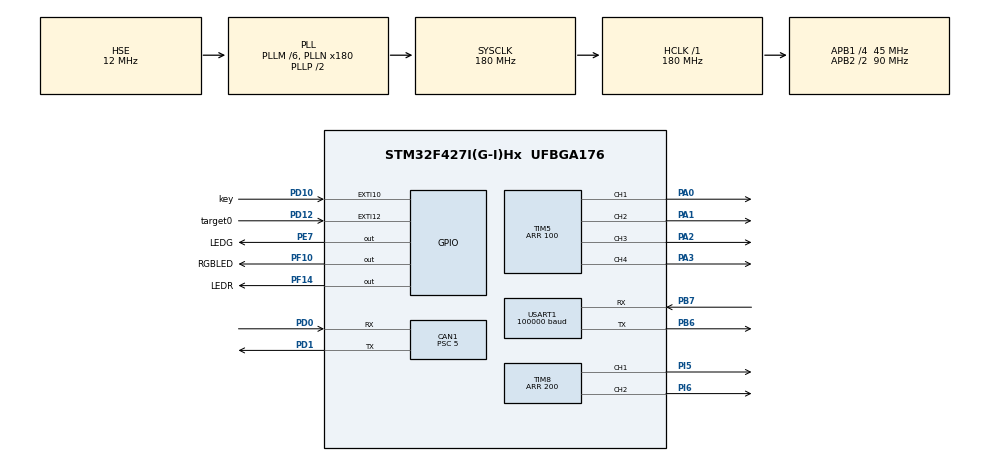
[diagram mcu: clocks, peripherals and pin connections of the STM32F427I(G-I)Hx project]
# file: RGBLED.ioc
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CAN1.BS1=CAN_BS1_3TQ
CAN1.BS2=CAN_BS2_5TQ
CAN1.CalculateTimeQuantum=111.11111111111111
CAN1.Prescaler=5
CAN1.TTCM=ENABLE
CAN1.TXFP=ENABLE
Dma.Request0=TIM5_CH1
Dma.Request1=TIM5_CH2
Dma.Request2=TIM5_CH3/UP
Dma.Request3=TIM5_CH4/TRIG
Dma.Request4=TIM8_CH1
Dma.Request5=USART1_RX
Dma.Request6=TIM8_CH2
Dma.TIM5_CH1.0.Direction=DMA_MEMORY_TO_PERIPH
Dma.TIM5_CH1.0.FIFOMode=DMA_FIFOMODE_DISABLE
Dma.TIM5_CH1.0.Instance=DMA1_Stream2
Dma.TIM5_CH1.0.MemDataAlignment=DMA_MDATAALIGN_WORD
Dma.TIM5_CH1.0.MemInc=DMA_MINC_ENABLE
Dma.TIM5_CH1.0.Mode=DMA_NORMAL
Dma.TIM5_CH1.0.PeriphDataAlignment=DMA_PDATAALIGN_WORD
Dma.TIM5_CH1.0.PeriphInc=DMA_PINC_DISABLE
Dma.TIM5_CH1.0.Priority=DMA_PRIORITY_VERY_HIGH
Dma.TIM5_CH2.1.Direction=DMA_MEMORY_TO_PERIPH
Dma.TIM5_CH2.1.FIFOMode=DMA_FIFOMODE_DISABLE
Dma.TIM5_CH2.1.Instance=DMA1_Stream4
Dma.TIM5_CH2.1.MemDataAlignment=DMA_MDATAALIGN_WORD
Dma.TIM5_CH2.1.MemInc=DMA_MINC_ENABLE
Dma.TIM5_CH2.1.Mode=DMA_NORMAL
Dma.TIM5_CH2.1.PeriphDataAlignment=DMA_PDATAALIGN_WORD
Dma.TIM5_CH2.1.PeriphInc=DMA_PINC_DISABLE
Dma.TIM5_CH2.1.Priority=DMA_PRIORITY_VERY_HIGH
Dma.TIM5_CH3/UP.2.Direction=DMA_MEMORY_TO_PERIPH
Dma.TIM5_CH3/UP.2.FIFOMode=DMA_FIFOMODE_DISABLE
Dma.TIM5_CH3/UP.2.Instance=DMA1_Stream0
Dma.TIM5_CH3/UP.2.MemDataAlignment=DMA_MDATAALIGN_WORD
Dma.TIM5_CH3/UP.2.MemInc=DMA_MINC_ENABLE
Dma.TIM5_CH3/UP.2.Mode=DMA_NORMAL
Dma.TIM5_CH3/UP.2.PeriphDataAlignment=DMA_PDATAALIGN_WORD
Dma.TIM5_CH3/UP.2.PeriphInc=DMA_PINC_DISABLE
Dma.TIM5_CH3/UP.2.Priority=DMA_PRIORITY_VERY_HIGH
Dma.TIM5_CH4/TRIG.3.Direction=DMA_MEMORY_TO_PERIPH
Dma.TIM5_CH4/TRIG.3.FIFOMode=DMA_FIFOMODE_DISABLE
Dma.TIM5_CH4/TRIG.3.Instance=DMA1_Stream1
Dma.TIM5_CH4/TRIG.3.MemDataAlignment=DMA_MDATAALIGN_WORD
Dma.TIM5_CH4/TRIG.3.MemInc=DMA_MINC_ENABLE
Dma.TIM5_CH4/TRIG.3.Mode=DMA_NORMAL
Dma.TIM5_CH4/TRIG.3.PeriphDataAlignment=DMA_PDATAALIGN_WORD
Dma.TIM5_CH4/TRIG.3.PeriphInc=DMA_PINC_DISABLE
Dma.TIM5_CH4/TRIG.3.Priority=DMA_PRIORITY_VERY_HIGH
Dma.TIM8_CH1.4.Direction=DMA_MEMORY_TO_PERIPH
Dma.TIM8_CH1.4.FIFOMode=DMA_FIFOMODE_DISABLE
Dma.TIM8_CH1.4.Instance=DMA2_Stream2
Dma.TIM8_CH1.4.MemDataAlignment=DMA_MDATAALIGN_HALFWORD
Dma.TIM8_CH1.4.MemInc=DMA_MINC_ENABLE
Dma.TIM8_CH1.4.Mode=DMA_NORMAL
Dma.TIM8_CH1.4.PeriphDataAlignment=DMA_PDATAALIGN_HALFWORD
Dma.TIM8_CH1.4.PeriphInc=DMA_PINC_DISABLE
Dma.TIM8_CH1.4.Priority=DMA_PRIORITY_VERY_HIGH
Dma.TIM8_CH2.6.Direction=DMA_MEMORY_TO_PERIPH
Dma.TIM8_CH2.6.FIFOMode=DMA_FIFOMODE_DISABLE
Dma.TIM8_CH2.6.Instance=DMA2_Stream3
Dma.TIM8_CH2.6.MemDataAlignment=DMA_MDATAALIGN_HALFWORD
Dma.TIM8_CH2.6.MemInc=DMA_MINC_ENABLE
Dma.TIM8_CH2.6.Mode=DMA_NORMAL
Dma.TIM8_CH2.6.PeriphDataAlignment=DMA_PDATAALIGN_HALFWORD
Dma.TIM8_CH2.6.PeriphInc=DMA_PINC_DISABLE
Dma.TIM8_CH2.6.Priority=DMA_PRIORITY_VERY_HIGH
Dma.USART1_RX.5.Direction=DMA_PERIPH_TO_MEMORY
Dma.USART1_RX.5.FIFOMode=DMA_FIFOMODE_DISABLE
Dma.USART1_RX.5.Instance=DMA2_Stream5
Dma.USART1_RX.5.MemDataAlignment=DMA_MDATAALIGN_BYTE
Dma.USART1_RX.5.MemInc=DMA_MINC_ENABLE
Dma.USART1_RX.5.Mode=DMA_CIRCULAR
Dma.USART1_RX.5.PeriphDataAlignment=DMA_PDATAALIGN_BYTE
Dma.USART1_RX.5.PeriphInc=DMA_PINC_DISABLE
Dma.USART1_RX.5.Priority=DMA_PRIORITY_VERY_HIGH
FREERTOS.INCLUDE_vTaskDelayUntil=1
FREERTOS.Tasks01=defaultTask,0,128,StartDefaultTask,Default,NULL,Dynamic,NULL,NULL;LeafDisplay,-3,512,StartLeafDisplay,Default,NULL,Dynamic,NULL,NULL;BoradLED_Task,-3,128,Start_BoradLED_Task,Default,NULL,Dynamic,NULL,NULL;MotorTask,-3,128,StartMotorTask,Default,NULL,Dynamic,NULL,NULL
Mcu.Family=STM32F4
Mcu.Name=STM32F427I(G-I)Hx
Mcu.Package=UFBGA176
NVIC.CAN1_RX0_IRQn=true\:3\:0\:true\:false\:true\:false\:true\:true
NVIC.CAN1_TX_IRQn=true\:5\:0\:false\:false\:true\:true\:true\:true
NVIC.DMA1_Stream0_IRQn=true\:5\:0\:false\:false\:true\:true\:false\:true
NVIC.DMA1_Stream1_IRQn=true\:5\:0\:false\:false\:true\:true\:false\:true
NVIC.DMA1_Stream2_IRQn=true\:5\:0\:false\:false\:true\:true\:false\:true
NVIC.DMA1_Stream4_IRQn=true\:5\:0\:false\:false\:true\:true\:false\:true
NVIC.DMA2_Stream2_IRQn=true\:5\:0\:false\:false\:true\:true\:false\:true
NVIC.DMA2_Stream3_IRQn=true\:5\:0\:false\:false\:true\:true\:false\:true
NVIC.DMA2_Stream5_IRQn=true\:5\:0\:false\:false\:true\:true\:false\:true
NVIC.EXTI15_10_IRQn=true\:5\:0\:false\:false\:true\:true\:true\:true
NVIC.PriorityGroup=NVIC_PRIORITYGROUP_4
NVIC.TIM1_UP_TIM10_IRQn=true\:0\:0\:false\:false\:true\:false\:false\:true
NVIC.TimeBase=TIM1_UP_TIM10_IRQn
NVIC.TimeBaseIP=TIM1
PA0/WKUP.GPIO_Speed=GPIO_SPEED_FREQ_VERY_HIGH
PA0/WKUP.Signal=S_TIM5_CH1
PA1.GPIO_Speed=GPIO_SPEED_FREQ_VERY_HIGH
PA1.Signal=S_TIM5_CH2
PA13.Mode=Serial_Wire
PA13.Signal=SYS_JTMS-SWDIO
PA14.Mode=Serial_Wire
PA14.Signal=SYS_JTCK-SWCLK
PA2.GPIO_Speed=GPIO_SPEED_FREQ_VERY_HIGH
PA2.Signal=S_TIM5_CH3
PA3.GPIO_Speed=GPIO_SPEED_FREQ_VERY_HIGH
PA3.Signal=S_TIM5_CH4
PB6.Mode=Multiprocessor_communication
PB6.Signal=USART1_TX
PB7.Mode=Multiprocessor_communication
PB7.Signal=USART1_RX
PD0.Mode=Master
PD0.Signal=CAN1_RX
PD1.Mode=Master
PD1.Signal=CAN1_TX
PD10.GPIO_Label=key
PD10.Signal=GPXTI10
PD12.GPIO_Label=target0
PD12.GPIO_ModeDefaultEXTI=GPIO_MODE_EVT_FALLING
PD12.GPIO_PuPd=GPIO_PULLUP
PD12.Signal=GPXTI12
PE7.GPIO_Label=LEDG
PE7.GPIO_PuPd=GPIO_PULLUP
PE7.Signal=GPIO_Output
PF10.GPIO_Label=RGBLED
PF10.GPIO_Speed=GPIO_SPEED_FREQ_VERY_HIGH
PF10.Signal=GPIO_Output
PF14.GPIO_Label=LEDR
PF14.GPIO_PuPd=GPIO_PULLUP
PF14.Signal=GPIO_Output
PH0/OSC_IN.Mode=HSE-External-Oscillator
PH0/OSC_IN.Signal=RCC_OSC_IN
PH1/OSC_OUT.Mode=HSE-External-Oscillator
PH1/OSC_OUT.Signal=RCC_OSC_OUT
PI5.Signal=S_TIM8_CH1
PI6.Signal=S_TIM8_CH2
ProjectManager.HeapSize=0x200
ProjectManager.StackSize=0x400
ProjectManager.TargetToolchain=MDK-ARM V5
RCC.48MHZClocksFreq_Value=90000000
RCC.AHBFreq_Value=180000000
RCC.APB1CLKDivider=RCC_HCLK_DIV4
RCC.APB1Freq_Value=45000000
RCC.APB1TimFreq_Value=90000000
RCC.APB2CLKDivider=RCC_HCLK_DIV2
RCC.APB2Freq_Value=90000000
RCC.APB2TimFreq_Value=180000000
RCC.CortexFreq_Value=180000000
RCC.HCLKFreq_Value=180000000
RCC.HSE_VALUE=12000000
RCC.HSI_VALUE=16000000
RCC.LSE_VALUE=32768
RCC.PLLM=6
RCC.PLLN=180
RCC.PLLSourceVirtual=RCC_PLLSOURCE_HSE
RCC.SYSCLKFreq_VALUE=180000000
RCC.SYSCLKSource=RCC_SYSCLKSOURCE_PLLCLK
RCC.VCOOutputFreq_Value=360000000
SH.S_TIM5_CH1.0=TIM5_CH1,PWM Generation1 CH1
SH.S_TIM5_CH2.0=TIM5_CH2,PWM Generation2 CH2
SH.S_TIM5_CH3.0=TIM5_CH3,PWM Generation3 CH3
SH.S_TIM5_CH4.0=TIM5_CH4,PWM Generation4 CH4
SH.S_TIM8_CH1.0=TIM8_CH1,PWM Generation1 CH1
SH.S_TIM8_CH2.0=TIM8_CH2,PWM Generation2 CH2
TIM5.Channel-PWM\ Generation1\ CH1=TIM_CHANNEL_1
TIM5.Channel-PWM\ Generation2\ CH2=TIM_CHANNEL_2
TIM5.Channel-PWM\ Generation3\ CH3=TIM_CHANNEL_3
TIM5.Channel-PWM\ Generation4\ CH4=TIM_CHANNEL_4
TIM5.Period=100
TIM8.Channel-PWM\ Generation1\ CH1=TIM_CHANNEL_1
TIM8.Channel-PWM\ Generation2\ CH2=TIM_CHANNEL_2
TIM8.Period=200
USART1.BaudRate=100000
USART1.Mode=MODE_TX_RX
USART1.Parity=PARITY_NONE
USART1.VirtualMode=VM_ASYNC
VP_FREERTOS_VS_CMSIS_V1.Mode=CMSIS_V1
VP_SYS_VS_tim1.Mode=TIM1
VP_TIM5_VS_ClockSourceINT.Mode=Internal
VP_TIM8_VS_ClockSourceINT.Mode=Internal
board=custom

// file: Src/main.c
/* USER CODE BEGIN Header */
/**
  ******************************************************************************
  * @file           : main.c
  * @brief          : Main program body
  ******************************************************************************
  * @attention
  *
  * <h2><center>&copy; Copyright (c) 2019 STMicroelectronics.
  * All rights reserved.</center></h2>
  *
  * This software component is licensed by ST under BSD 3-Clause license,
  * the "License"; You may not use this file except in compliance with the
  * License. You may obtain a copy of the License at:
  *                        opensource.org/licenses/BSD-3-Clause
  *
  ******************************************************************************
  */
/* USER CODE END Header */

#include "main.h"
#include "cmsis_os.h"
#include "can.h"
#include "dma.h"
#include "tim.h"
#include "usart.h"
#include "gpio.h"

/* USER CODE BEGIN Includes */
#include "LED.h"
#include "delay.h"
/* USER CODE END Includes */

void SystemClock_Config(void);
void MX_FREERTOS_Init(void);

int main(void)
{

  /* MCU Configuration--------------------------------------------------------*/

  /* Reset of all peripherals, Initializes the Flash interface and the Systick. */
  HAL_Init();

  /* Configure the system clock */
  SystemClock_Config();

  /* Initialize all configured peripherals */
  MX_GPIO_Init();
  MX_DMA_Init();
  MX_TIM5_Init();
  MX_TIM8_Init();
  MX_USART1_UART_Init();
  MX_CAN1_Init();
  /* USER CODE BEGIN 2 */
	LED_init();
	HAL_UART_Receive_DMA(&huart1,teledata_rx,sizeof(teledata_rx));// 遥控器标志位
	HAL_Delay(100);
//	HAL_GPIO_WritePin(LEDR_GPIO_Port,LEDR_Pin,GPIO_PIN_SET);

  /* USER CODE END 2 */

  /* Call init function for freertos objects (in freertos.c) */
  MX_FREERTOS_Init();

  /* Start scheduler */
  osKernelStart();

  /* We should never get here as control is now taken by the scheduler */

  /* Infinite loop */
  while (1)
  {

  }
}

void SystemClock_Config(void)
{
  RCC_OscInitTypeDef RCC_OscInitStruct = {0};
  RCC_ClkInitTypeDef RCC_ClkInitStruct = {0};

  /** Configure the main internal regulator output voltage
  */
  __HAL_RCC_PWR_CLK_ENABLE();
  __HAL_PWR_VOLTAGESCALING_CONFIG(PWR_REGULATOR_VOLTAGE_SCALE1);
  /** Initializes the CPU, AHB and APB busses clocks
  */
  RCC_OscInitStruct.OscillatorType = RCC_OSCILLATORTYPE_HSE;
  RCC_OscInitStruct.HSEState = RCC_HSE_ON;
  RCC_OscInitStruct.PLL.PLLState = RCC_PLL_ON;
  RCC_OscInitStruct.PLL.PLLSource = RCC_PLLSOURCE_HSE;
  RCC_OscInitStruct.PLL.PLLM = 6;
  RCC_OscInitStruct.PLL.PLLN = 180;
  RCC_OscInitStruct.PLL.PLLP = RCC_PLLP_DIV2;
  RCC_OscInitStruct.PLL.PLLQ = 4;
  if (HAL_RCC_OscConfig(&RCC_OscInitStruct) != HAL_OK)
  {
    Error_Handler();
  }
  /** Activate the Over-Drive mode
  */
  if (HAL_PWREx_EnableOverDrive() != HAL_OK)
  {
    Error_Handler();
  }
  /** Initializes the CPU, AHB and APB busses clocks
  */
  RCC_ClkInitStruct.ClockType = RCC_CLOCKTYPE_HCLK|RCC_CLOCKTYPE_SYSCLK
                              |RCC_CLOCKTYPE_PCLK1|RCC_CLOCKTYPE_PCLK2;
  RCC_ClkInitStruct.SYSCLKSource = RCC_SYSCLKSOURCE_PLLCLK;
  RCC_ClkInitStruct.AHBCLKDivider = RCC_SYSCLK_DIV1;
  RCC_ClkInitStruct.APB1CLKDivider = RCC_HCLK_DIV4;
  RCC_ClkInitStruct.APB2CLKDivider = RCC_HCLK_DIV2;

  if (HAL_RCC_ClockConfig(&RCC_ClkInitStruct, FLASH_LATENCY_5) != HAL_OK)
  {
    Error_Handler();
  }
}

/* USER CODE BEGIN 4 */
void HAL_TIM_PWM_PulseFinishedCallback(TIM_HandleTypeDef *htim)
{
    HAL_TIM_PWM_Stop(&htim5,TIM_CHANNEL_1);
		HAL_TIM_PWM_Stop(&htim5,TIM_CHANNEL_2);
		HAL_TIM_PWM_Stop(&htim5,TIM_CHANNEL_3);
		HAL_TIM_PWM_Stop(&htim5,TIM_CHANNEL_4);
	  HAL_TIM_PWM_Stop(&htim8,TIM_CHANNEL_1);
	  HAL_TIM_PWM_Stop(&htim8,TIM_CHANNEL_2);
}

/* USER CODE END 4 */

void HAL_TIM_PeriodElapsedCallback(TIM_HandleTypeDef *htim)
{
  if (htim->Instance == TIM1) {
    HAL_IncTick();
  }
}

void Error_Handler(void)
{
}

/************************ (C) COPYRIGHT STMicroelectronics *****END OF FILE****/

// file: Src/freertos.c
/* USER CODE BEGIN Header */
/**
  ******************************************************************************
  * File Name          : freertos.c
  * Description        : Code for freertos applications
  ******************************************************************************
  * @attention
  *
  * <h2><center>&copy; Copyright (c) 2019 STMicroelectronics.
  * All rights reserved.</center></h2>
  *
  * This software component is licensed by ST under Ultimate Liberty license
  * SLA0044, the "License"; You may not use this file except in compliance with
  * the License. You may obtain a copy of the License at:
  *                             www.st.com/SLA0044
  *
  ******************************************************************************
  */
/* USER CODE END Header */

#include "FreeRTOS.h"
#include "task.h"
#include "main.h"
#include "cmsis_os.h"

/* USER CODE BEGIN Includes */
#include "LED.h"
#include "leaf_control.h"
/* USER CODE END Includes */

osThreadId defaultTaskHandle;
osThreadId LeafDisplayHandle;
osThreadId BoradLED_TaskHandle;
osThreadId MotorTaskHandle;

void StartDefaultTask(void const * argument);
void StartLeafDisplay(void const * argument);
void Start_BoradLED_Task(void const * argument);
void StartMotorTask(void const * argument);

void MX_FREERTOS_Init(void); /* (MISRA C 2004 rule 8.1) */

/* GetIdleTaskMemory prototype (linked to static allocation support) */
void vApplicationGetIdleTaskMemory( StaticTask_t **ppxIdleTaskTCBBuffer, StackType_t **ppxIdleTaskStackBuffer, uint32_t *pulIdleTaskStackSize );

/* USER CODE BEGIN GET_IDLE_TASK_MEMORY */
static StaticTask_t xIdleTaskTCBBuffer;
static StackType_t xIdleStack[configMINIMAL_STACK_SIZE];

void vApplicationGetIdleTaskMemory( StaticTask_t **ppxIdleTaskTCBBuffer, StackType_t **ppxIdleTaskStackBuffer, uint32_t *pulIdleTaskStackSize )
{
  *ppxIdleTaskTCBBuffer = &xIdleTaskTCBBuffer;
  *ppxIdleTaskStackBuffer = &xIdleStack[0];
  *pulIdleTaskStackSize = configMINIMAL_STACK_SIZE;
  /* place for user code */
}
/* USER CODE END GET_IDLE_TASK_MEMORY */

void MX_FREERTOS_Init(void) {

  /* Create the thread(s) */
  /* definition and creation of defaultTask */
  osThreadDef(defaultTask, StartDefaultTask, osPriorityNormal, 0, 128);
  defaultTaskHandle = osThreadCreate(osThread(defaultTask), NULL);

  /* definition and creation of LeafDisplay */
  osThreadDef(LeafDisplay, StartLeafDisplay, osPriorityIdle, 0, 512);
  LeafDisplayHandle = osThreadCreate(osThread(LeafDisplay), NULL);

  /* definition and creation of BoradLED_Task */
  osThreadDef(BoradLED_Task, Start_BoradLED_Task, osPriorityIdle, 0, 128);
  BoradLED_TaskHandle = osThreadCreate(osThread(BoradLED_Task), NULL);

  /* definition and creation of MotorTask */
  osThreadDef(MotorTask, StartMotorTask, osPriorityIdle, 0, 128);
  MotorTaskHandle = osThreadCreate(osThread(MotorTask), NULL);

}

void StartDefaultTask(void const * argument)
{

  for(;;)
  {
    osDelay(1);
  }
}

void StartLeafDisplay(void const * argument)
{
  /* USER CODE BEGIN StartLeafDisplay */
  /* Infinite loop */
  for(;;)
  {
//
//		for(int i=0;i<5;i++)
//		{
//			LED_show(i);
//		}
//		osDelay(5000);
//		LED_show(5);
//  }
		remote_control();
		osDelay(1);
	}
  /* USER CODE END StartLeafDisplay */
}

void Start_BoradLED_Task(void const * argument)
{
  /* USER CODE BEGIN Start_BoradLED_Task */
  /* Infinite loop */
  for(;;)
  {
			HAL_GPIO_TogglePin(LEDR_GPIO_Port,LEDR_Pin);
			osDelay(250);
  }
  /* USER CODE END Start_BoradLED_Task */
}

void StartMotorTask(void const * argument)
{
  for(;;)
  {
  }
}

/************************ (C) COPYRIGHT STMicroelectronics *****END OF FILE****/
